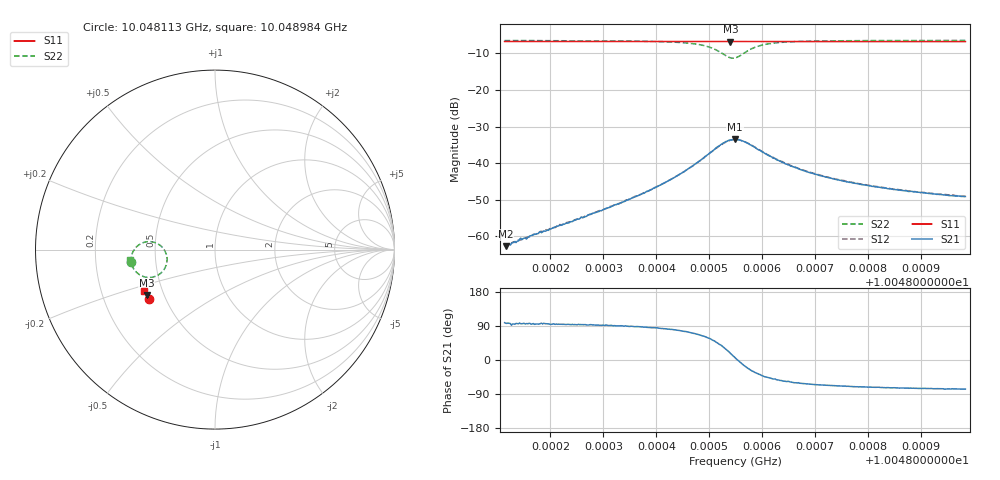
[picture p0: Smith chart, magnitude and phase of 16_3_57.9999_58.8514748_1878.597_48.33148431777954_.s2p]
#  HZ  S  RI  R  50.00
! Rohde & Schwarz Vector Network Analyzer
! Rohde-Schwarz,ZNB20-2Port,1311601062101988,3.16
! Created: UTC 3/21/2024, 12:51:00 AM
! freq[Hz]  re:S11  im:S11  re:S21  im:S21  re:S12  im:S12  re:S22  im:S22
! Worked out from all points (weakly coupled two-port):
!   401 points, 10.048113 GHz to 10.048984 GHz, reference 50 ohm
!   highest |S21| = -33.47 dB at 10.048549 GHz (marker M1); lowest = -62.7 dB at 10.048116 GHz (marker M2)
!   lowest |S11| = -6.8 dB at 10.04854 GHz (marker M3), VSWR 2.68, Z = 20.1 - j12.9 ohm
!   |S11| at or under -10 dB: nowhere
!   |S22| runs from -11.3 to -6.5 dB; largest |S21 - S12| = 0.0019
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1.00481134e10  -0.3658 -0.2779  -0.00011 0.000744  -0.000118 0.000734  -0.4677 -0.0716
1.00481155e10  -0.3661 -0.2778  -8.79e-05 0.00073  -0.000134 0.000767  -0.4675 -0.0714
1.00482592e10  -0.3715 -0.2698  -0.000106 0.00183  -0.000208 0.00181  -0.4677 -0.0518
1.00483332e10  -0.3743 -0.2655  -2.4e-05 0.00289  -0.000168 0.00286  -0.4654 -0.0368
1.0048405e10  -0.377 -0.2613  0.000525 0.0049  0.000266 0.00492  -0.4579 -0.0136
1.00484529e10  -0.3786 -0.2584  0.00194 0.00745  0.00148 0.00756  -0.4407 0.0121
1.00484877e10  -0.3795 -0.2561  0.0052 0.0103  0.00452 0.0106  -0.4057 0.0366
1.00485051e10  -0.3797 -0.2549  0.00869 0.0117  0.00788 0.0121  -0.371 0.0445
1.00485182e10  -0.3799 -0.2541  0.0126 0.0115  0.0117 0.0123  -0.334 0.039
1.00485312e10  -0.3798 -0.2536  0.0173 0.00948  0.0163 0.0105  -0.294 0.0131
1.00485399e10  -0.3797 -0.2531  0.0198 0.00623  0.0191 0.00772  -0.2742 -0.0184
1.00485486e10  -0.3799 -0.2531  0.0211 0.00222  0.0206 0.0041  -0.2669 -0.057
1.00485595e10  -0.3801 -0.2531  0.0203 -0.00263  0.0205 -0.000906  -0.279 -0.1031
1.00485726e10  -0.3809 -0.2527  0.0174 -0.00691  0.0179 -0.00555  -0.3127 -0.1392
1.00485856e10  -0.3816 -0.2524  0.014 -0.00889  0.0148 -0.00781  -0.3485 -0.1536
1.00486031e10  -0.3826 -0.2515  0.0102 -0.0095  0.011 -0.0088  -0.3859 -0.1535
1.00486488e10  -0.385 -0.2489  0.00525 -0.0079  0.00596 -0.00771  -0.4339 -0.1298
1.00486945e10  -0.3866 -0.2462  0.00318 -0.00656  0.00362 -0.0064  -0.4513 -0.1099
1.00487554e10  -0.3888 -0.2427  0.00202 -0.00528  0.00235 -0.00527  -0.4611 -0.092
1.00488403e10  -0.3918 -0.2377  0.00128 -0.00426  0.00158 -0.00425  -0.467 -0.0753
1.00488903e10  -0.3934 -0.2348  0.00107 -0.00391  0.00132 -0.00385  -0.4687 -0.0682
1.00489839e10  -0.3964 -0.2292  0.000797 -0.00341  0.000987 -0.00338  -0.4709 -0.0568
